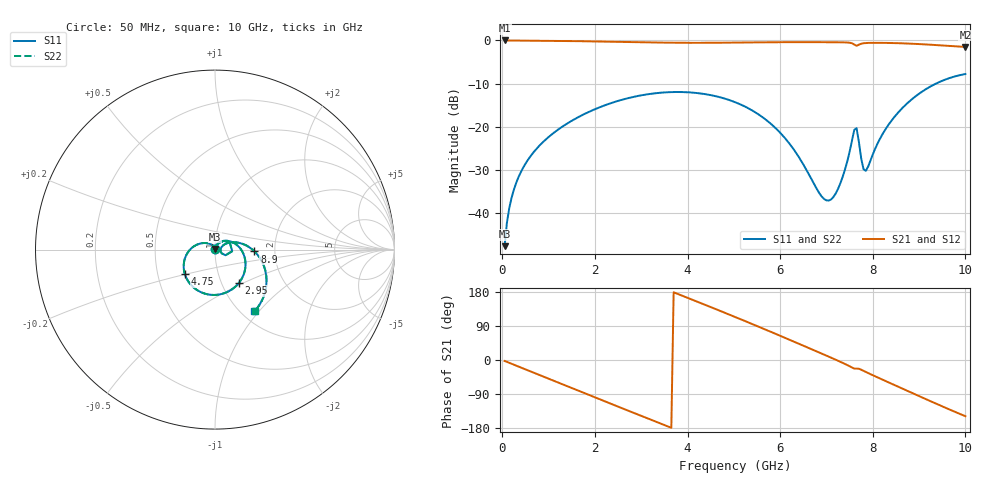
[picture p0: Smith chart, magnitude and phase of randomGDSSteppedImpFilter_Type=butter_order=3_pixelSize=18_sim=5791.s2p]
! freq	dB(S11)	phase(S11)	dB(S12)	phase(S12)
!  dB(S21)	phase(S21)	dB(S22)	phase(S22)
!S-par simulation data
#  GHz  S  DB  R 50
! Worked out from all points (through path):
!   200 points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, 50 MHz to 10 GHz, reference 50 ohm
!   highest |S21| = 0.00 dB at 50 MHz (marker M1); lowest = -1.5 dB at 10 GHz (marker M2)
!   group delay of S21, straight-line fit = 141 ps
!   lowest |S11| = -47.7 dB at 50 MHz (marker M3), VSWR 1.01, Z = 50.1 + j0.409 ohm
!   |S11| at or under -10 dB: start of sweep to 9.365 GHz
!   |S22| runs from -47.7 to -7.8 dB; largest |S21 - S12| = 0
!   S11 on the Smith chart (normalised r, x): 50 MHz: 1.00, +0.01; 2.95 GHz: 1.21, -0.47; 4.75 GHz: 0.69, -0.20; 8.9 GHz: 1.56, -0.03; 10 GHz: 1.14, -0.95
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0.05  -47.66 80.3  -0.00 -2.5  -0.00 -2.5  -47.67 80.5
0.2  -36.46 77.1  -0.02 -9.9  -0.02 -9.9  -36.46 77.1
0.5  -28.56 64.3  -0.04 -24.7  -0.04 -24.7  -28.56 64.3
1.15  -21.08 33.2  -0.10 -56.8  -0.10 -56.8  -21.08 33.2
1.75  -17.17 4.0  -0.18 -86.3  -0.18 -86.3  -17.16 4.0
2.3  -14.69 -22.8  -0.28 -113.3  -0.28 -113.3  -14.69 -22.8
2.95  -12.82 -54.4  -0.41 -145.0  -0.41 -145.0  -12.82 -54.4
3.4  -12.13 -76.1  -0.49 -166.8  -0.49 -166.8  -12.13 -76.2
4.05  -12.04 -107.3  -0.55 161.7  -0.55 161.7  -12.04 -107.4
4.75  -13.30 -141.1  -0.53 127.4  -0.53 127.4  -13.30 -141.2
5.05  -14.40 -155.8  -0.49 112.4  -0.49 112.4  -14.40 -155.9
5.85  -19.80 163.8  -0.41 71.7  -0.41 71.7  -19.80 163.7
6.7  -32.63 112.1  -0.40 27.4  -0.40 27.4  -32.62 112.2
7.1  -36.83 73.8  -0.41 6.1  -0.41 6.1  -36.86 74.3
7.35  -31.59 64.0  -0.44 -7.6  -0.44 -7.6  -31.61 64.3
7.6  -20.73 26.3  -0.95 -22.7  -0.95 -22.7  -20.76 26.1
7.65  -20.34 -5.5  -1.24 -22.7  -1.24 -22.7  -20.39 -5.8
7.8  -29.81 -15.8  -0.65 -28.6  -0.65 -28.6  -30.00 -15.7
7.85  -30.21 2.1  -0.60 -31.6  -0.60 -31.6  -30.39 2.6
8.35  -19.38 22.2  -0.58 -59.6  -0.58 -59.6  -19.39 22.6
8.9  -13.14 -2.7  -0.78 -89.8  -0.78 -89.8  -13.14 -2.4
10  -7.78 -57.5  -1.51 -148.4  -1.51 -148.4  -7.78 -57.3
